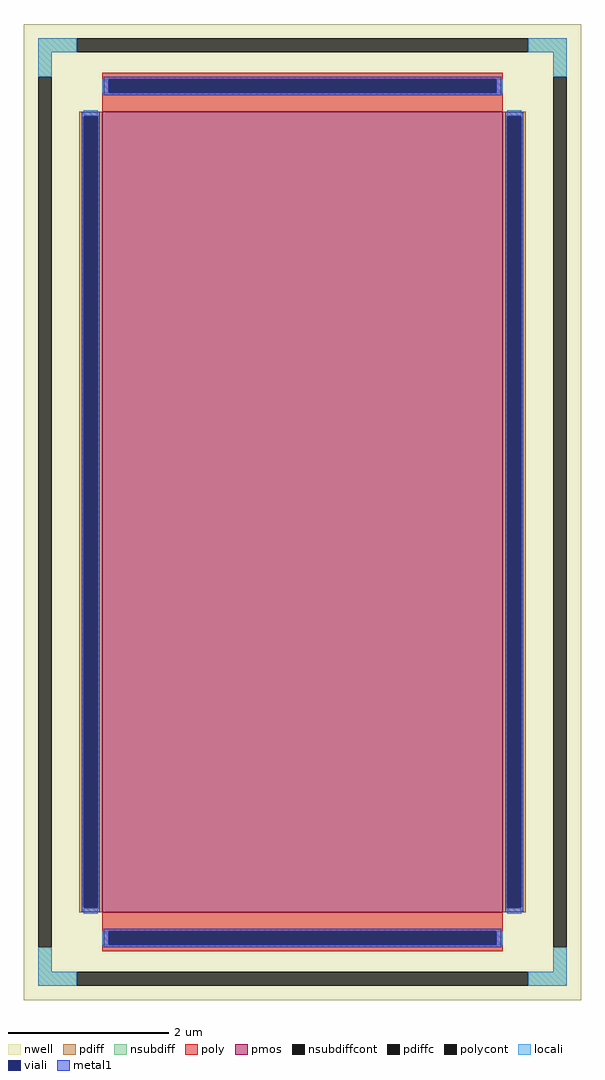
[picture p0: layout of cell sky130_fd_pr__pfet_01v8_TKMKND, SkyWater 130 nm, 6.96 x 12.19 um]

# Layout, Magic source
magic
tech sky130A
magscale 1 2
<< nwell >>
rect -696 -1219 696 1219
<< pmos >>
rect -500 -1000 500 1000
<< pdiff >>
rect -558 988 -500 1000
rect -558 -988 -546 988
rect -512 -988 -500 988
rect -558 -1000 -500 -988
rect 500 988 558 1000
rect 500 -988 512 988
rect 546 -988 558 988
rect 500 -1000 558 -988
<< pdiffc >>
rect -546 -988 -512 988
rect 512 -988 546 988
<< nsubdiff >>
rect -660 1149 -564 1183
rect 564 1149 660 1183
rect -660 1087 -626 1149
rect 626 1087 660 1149
rect -660 -1149 -626 -1087
rect 626 -1149 660 -1087
rect -660 -1183 -564 -1149
rect 564 -1183 660 -1149
<< nsubdiffcont >>
rect -564 1149 564 1183
rect -660 -1087 -626 1087
rect 626 -1087 660 1087
rect -564 -1183 564 -1149
<< poly >>
rect -500 1081 500 1097
rect -500 1047 -484 1081
rect 484 1047 500 1081
rect -500 1000 500 1047
rect -500 -1047 500 -1000
rect -500 -1081 -484 -1047
rect 484 -1081 500 -1047
rect -500 -1097 500 -1081
<< polycont >>
rect -484 1047 484 1081
rect -484 -1081 484 -1047
<< locali >>
rect -660 1149 -564 1183
rect 564 1149 660 1183
rect -660 1087 -626 1149
rect 626 1087 660 1149
rect -500 1047 -484 1081
rect 484 1047 500 1081
rect -546 988 -512 1004
rect -546 -1004 -512 -988
rect 512 988 546 1004
rect 512 -1004 546 -988
rect -500 -1081 -484 -1047
rect 484 -1081 500 -1047
rect -660 -1149 -626 -1087
rect 626 -1149 660 -1087
rect -660 -1183 -564 -1149
rect 564 -1183 660 -1149
<< viali >>
rect -484 1047 484 1081
rect -546 -988 -512 988
rect 512 -988 546 988
rect -484 -1081 484 -1047
<< metal1 >>
rect -496 1081 496 1087
rect -496 1047 -484 1081
rect 484 1047 496 1081
rect -496 1041 496 1047
rect -552 988 -506 1000
rect -552 -988 -546 988
rect -512 -988 -506 988
rect -552 -1000 -506 -988
rect 506 988 552 1000
rect 506 -988 512 988
rect 546 -988 552 988
rect 506 -1000 552 -988
rect -496 -1047 496 -1041
rect -496 -1081 -484 -1047
rect 484 -1081 496 -1047
rect -496 -1087 496 -1081
<< properties >>
string FIXED_BBOX -643 -1166 643 1166
string gencell sky130_fd_pr__pfet_01v8
string library sky130
string parameters w 10.0 l 5.0 m 1 nf 1 diffcov 100 polycov 100 guard 1 glc 1 grc 1 gtc 1 gbc 1 tbcov 100 rlcov 100 topc 1 botc 1 poverlap 0 doverlap 1 lmin 0.15 wmin 0.42 compatible {sky130_fd_pr__pfet_01v8  sky130_fd_pr__pfet_01v8_lvt sky130_fd_pr__pfet_01v8_hvt  sky130_fd_pr__pfet_g5v0d10v5} full_metal 1 viasrc 100 viadrn 100 viagate 100 viagb 0 viagr 0 viagl 0 viagt 0
<< end >>
